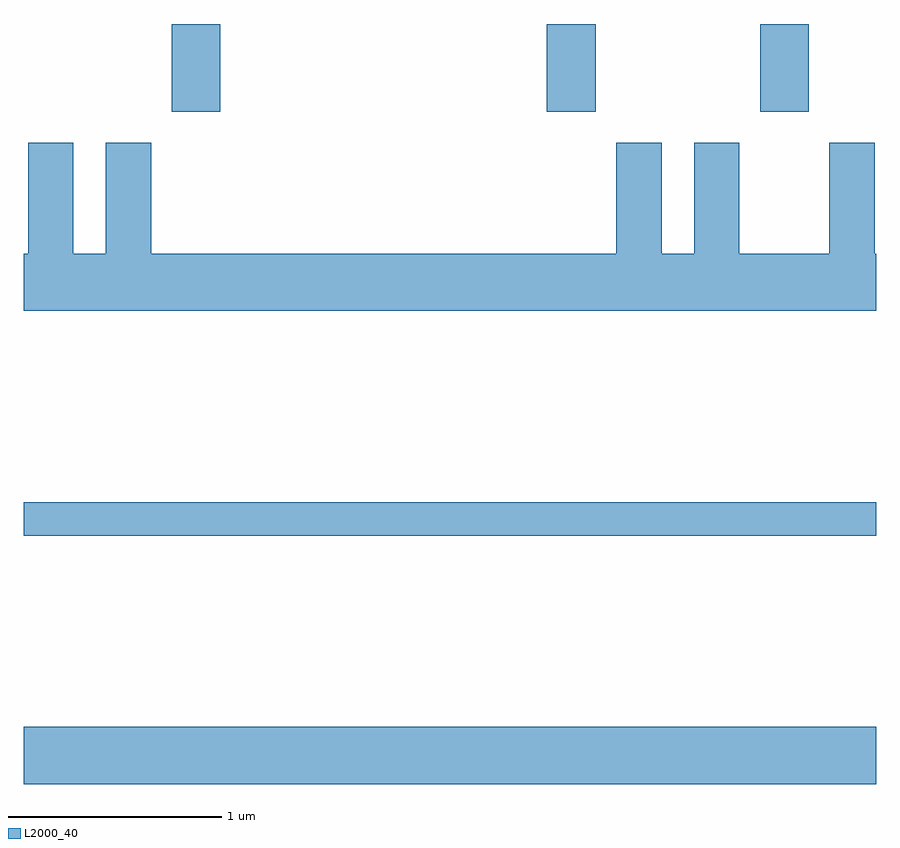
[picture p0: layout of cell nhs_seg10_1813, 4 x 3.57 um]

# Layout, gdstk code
import gdstk
lib = gdstk.Library(unit=1e-6, precision=1e-09)
def R(c, l, rs):  # rectangles x0, y0, x1, y1
    for r in rs: c.add(gdstk.rectangle(r[:2], r[2:], *l))
def P(c, l, *ps):  # polygons
    for p in ps: c.add(gdstk.Polygon(p, *l))
L2000_40 = (2000, 40)

nhs_seg10_1813 = lib.new_cell('nhs_seg10_1813')
R(nhs_seg10_1813, L2000_40, [(237.611,2184.956,241.611,2185.224), (237.611,2186.121,241.611,2186.279), (238.306,2188.111,238.534,2188.522), (240.066,2188.111,240.294,2188.522), (241.066,2188.111,241.294,2188.522)])
P(nhs_seg10_1813, L2000_40, [(241.611,2187.444),(241.604,2187.444),(241.604,2187.964),(241.391,2187.964),(241.391,2187.444),(240.969,2187.444),(240.969,2187.964),(240.756,2187.964),(240.756,2187.444),(240.604,2187.444),(240.604,2187.964),(240.391,2187.964),(240.391,2187.444),(238.209,2187.444),(238.209,2187.964),(237.996,2187.964),(237.996,2187.444),(237.844,2187.444),(237.844,2187.964),(237.631,2187.964),(237.631,2187.444),(237.611,2187.444),(237.611,2187.176),(241.611,2187.176)])

lib.write_gds('nhs_seg10_1813.gds')
